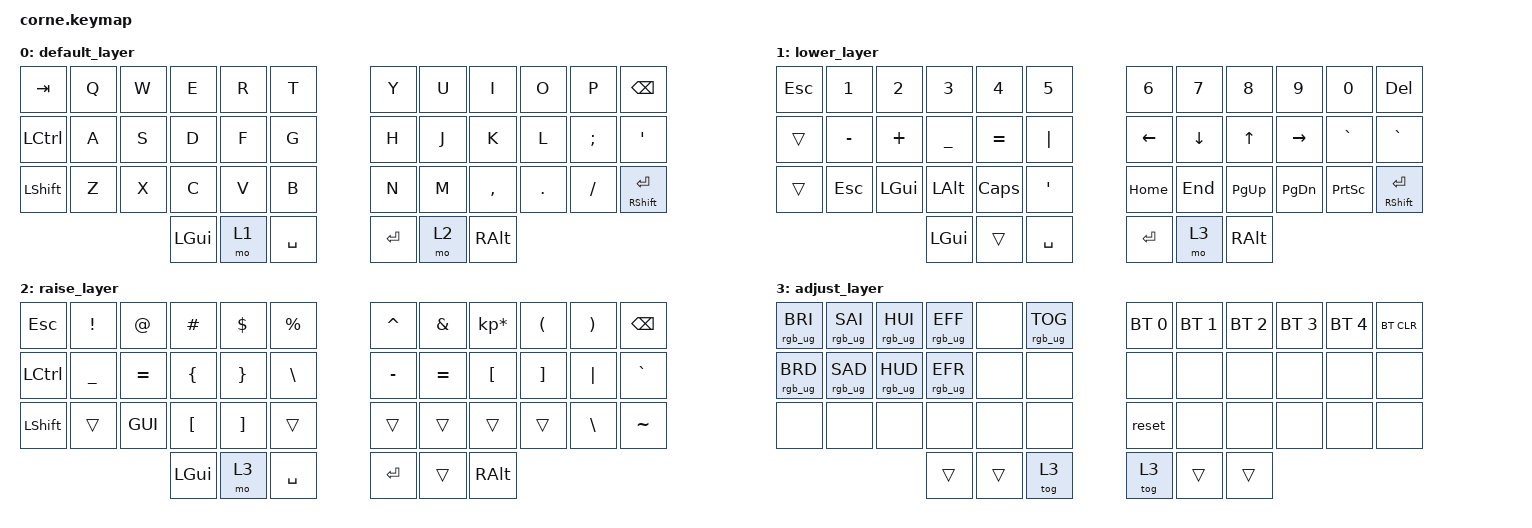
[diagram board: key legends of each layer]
/*
 * Copyright (c) 2020 The ZMK Contributors
 *
 * SPDX-License-Identifier: MIT
 */

#include <behaviors.dtsi>
#include <dt-bindings/zmk/keys.h>
#include <dt-bindings/zmk/bt.h>
#include <dt-bindings/zmk/rgb.h>

/ {
        keymap {
                compatible = "zmk,keymap";

                default_layer {
// -----------------------------------------------------------------------------------------
// |  TAB |  Q  |  W  |  E  |  R  |  T  |   |  Y  |  U   |  I  |  O  |  P  | BKSP |
// | CTRL |  A  |  S  |  D  |  F  |  G  |   |  H  |  J   |  K  |  L  |  ;  |  '   |
// | SHFT |  Z  |  X  |  C  |  V  |  B  |   |  N  |  M   |  ,  |  .  |  /  | SHFT(RET) |
//                    | GUI | LWR | SPC |   | ENT | RSE  | ALT |
                        bindings = <
   &kp TAB   &kp Q &kp W &kp E &kp R &kp T   &kp Y &kp U  &kp I     &kp O   &kp P    &kp BSPC
   &kp LCTRL &kp A &kp S &kp D &kp F &kp G   &kp H &kp J  &kp K     &kp L   &kp SEMI &kp SQT
   &kp LSHFT &kp Z &kp X &kp C &kp V &kp B   &kp N &kp M  &kp COMMA &kp DOT &kp FSLH &mt RSHFT RET
                  &kp LGUI &mo 1 &kp SPACE   &kp RET &mo 2 &kp RALT
                        >;
                };

                lower_layer {
// -----------------------------------------------------------------------------------------
// |  ESC |  1  |  2  |  3  |  4  |  5  |   |  6  |  7  |  8  |  9  |  0  | DEL       |
// |      |  -  |  +  |  _  |  =  | "|" |   | LFT | DWN |  UP | RGT |  `  |  ~        |
// |      | ESC | GUI | ALT | CAP |  "  |   | HOME| END | PGUP| PGDN| PRSC| SHFT(RET) |
//                    | GUI |     | SPC |   | ENT | ADJ | ALT |
                        bindings = <
   &kp ESC &kp N1    &kp N2   &kp N3    &kp N4    &kp N5        &kp N6    &kp N7   &kp N8    &kp N9    &kp N0    &kp DEL
   &trans  &kp MINUS &kp PLUS &kp UNDER &kp EQUAL &kp PIPE      &kp LEFT  &kp DOWN &kp UP    &kp RIGHT &kp GRAVE &kp GRAVE
   &trans  &kp ESC   &kp LGUI &kp LALT  &kp CLCK  &kp SQT       &kp HOME  &kp END  &kp PG_UP &kp PG_DN &kp PSCRN &mt RSHFT RET
                              &kp LGUI  &trans    &kp SPACE     &kp RET   &mo 3    &kp RALT
                        >;
                };

                raise_layer {
// -----------------------------------------------------------------------------------------
// |  ESC |  !  |  @  |  #  |  $  |  %  |   |  ^  |  &  |  *  |  (  |  )  | BKSP |
// | CTRL |  _  |  =  |  {  |  }  |  \  |   |  -  |  =  |  {  |  }  | "|" |  `   |
// | SHFT |     | GUI |  [  |  ]  |  "  |   |  _  |  +  |  [  |  ]  |  \  |  ~   | // TODO: Fix this row when &mkp is committed
//                    | GUI | ADJ | SPC |   | ENT |     | ALT |
                        bindings = <
   &kp  ESC  &kp EXCL  &kp AT     &kp HASH  &kp DLLR  &kp PRCNT   &kp CARET &kp AMPS  &kp KP_MULTIPLY &kp LPAR &kp RPAR &kp BSPC
   &kp LCTRL &kp UNDER &kp EQUAL  &kp LBRC  &kp RBRC  &kp BSLH    &kp MINUS &kp EQUAL &kp LBKT        &kp RBKT &kp PIPE &kp GRAVE
   &kp LSHFT &trans    &kp GUI    &kp LBKT  &kp RBKT  &trans      &trans    &trans    &trans          &trans   &kp BSLH &kp TILDE
                                  &kp LGUI  &mo 3     &kp SPACE   &kp RET   &trans    &kp RALT
                        >;
                };

                adjust_layer {
// -----------------------------------------------------------------------------------------
// | RGB BRI+ | RGB SAT+ | RGB HUE+ | RGB ANI+ |    | RGB TOG |   |  BT1  | BT2 | BT3 | BT4 | BT5 | BT CLR |
// | RGB BRI- | RGB SAT- | RGB HUE- | RGB ANI+ |    |         |   |       |     |     |     |     |        |
// |          |          |          |          |    |         |   | RESET |     |     |     |     |        |
//                                              |     |     |     |     |     |
                        bindings = <
&rgb_ug RGB_BRI &rgb_ug RGB_SAI &rgb_ug RGB_HUI &rgb_ug RGB_EFF &none &rgb_ug RGB_TOG    &bt BT_SEL 0 &bt BT_SEL 1 &bt BT_SEL 2 &bt BT_SEL 3 &bt BT_SEL 4 &bt BT_CLR
&rgb_ug RGB_BRD &rgb_ug RGB_SAD &rgb_ug RGB_HUD &rgb_ug RGB_EFR &none &none              &none        &none        &none        &none        &none        &none
&none           &none           &none           &none           &none &none              &reset       &none        &none        &none        &none        &none
                                              &trans          &trans       &tog 3        &tog 3       &trans      &trans
                        >;
                };
        };
};
